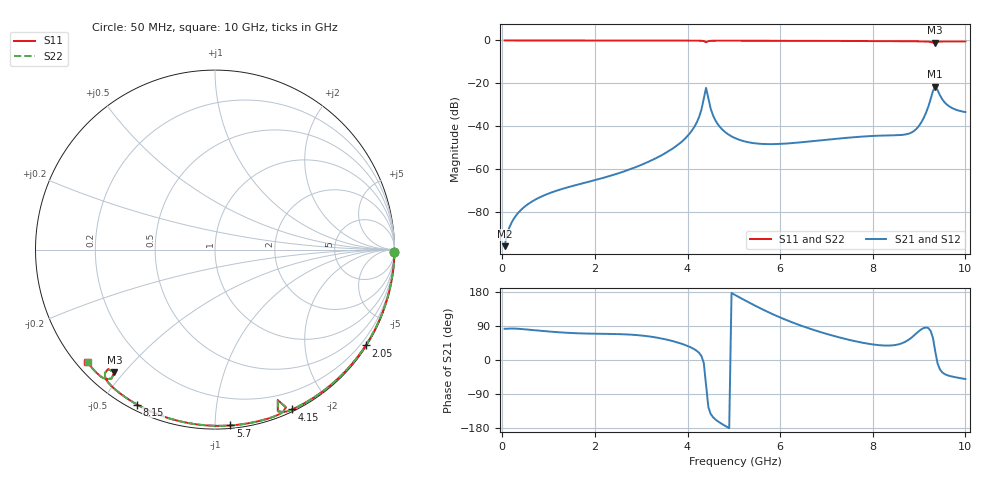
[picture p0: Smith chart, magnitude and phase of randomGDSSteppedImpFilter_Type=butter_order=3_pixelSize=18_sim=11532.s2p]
! freq	dB(S11)	phase(S11)	dB(S12)	phase(S12)
!  dB(S21)	phase(S21)	dB(S22)	phase(S22)
!S-par simulation data
#  GHz  S  DB  R 50
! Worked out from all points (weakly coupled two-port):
!   200 points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, 50 MHz to 10 GHz, reference 50 ohm
!   highest |S21| = -21.59 dB at 9.35 GHz (marker M1); lowest = -96.0 dB at 50 MHz (marker M2)
!   lowest |S11| = -1.1 dB at 9.35 GHz (marker M3), VSWR 16.16, Z = 3.78 - j23.5 ohm
!   |S11| at or under -10 dB: nowhere
!   |S22| runs from -1.1 to 0.0 dB; largest |S21 - S12| = 0
!   S11 on the Smith chart (normalised r, x): 50 MHz: open; 2.05 GHz: 0.03, -3.44; 4.15 GHz: 0.02, -1.59; 5.7 GHz: 0.02, -1.09; 8.15 GHz: 0.02, -0.62; 10 GHz: 0.03, -0.38
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0.05  -0.00 -0.8  -96.03 82.3  -96.03 82.3  -0.00 -0.8
0.35  -0.00 -5.6  -80.33 82.4  -80.33 82.4  -0.00 -5.6
0.85  -0.02 -13.6  -72.82 76.9  -72.82 76.9  -0.02 -13.6
1.75  -0.04 -27.8  -66.61 70.0  -66.61 70.0  -0.04 -27.8
2.05  -0.04 -32.4  -64.91 69.3  -64.91 69.3  -0.04 -32.4
3.4  -0.07 -52.9  -54.04 57.6  -54.04 57.6  -0.07 -52.9
3.85  -0.08 -59.6  -47.74 43.8  -47.74 43.8  -0.08 -59.6
4.15  -0.10 -64.3  -40.24 28.1  -40.24 28.1  -0.10 -64.2
4.3  -0.16 -67.2  -32.32 10.5  -32.32 10.5  -0.15 -67.2
4.4  -0.83 -67.4  -22.14 -65.9  -22.14 -65.9  -0.82 -67.4
4.5  -0.18 -67.2  -31.84 -142.3  -31.84 -142.3  -0.18 -67.2
4.6  -0.13 -69.3  -37.24 -156.7  -37.24 -156.7  -0.13 -69.3
5.05  -0.12 -76.0  -45.77 170.0  -45.77 170.0  -0.12 -76.0
5.7  -0.14 -85.0  -48.38 128.8  -48.38 128.8  -0.14 -85.0
6.7  -0.19 -98.2  -47.02 80.3  -47.02 80.3  -0.19 -98.2
8.15  -0.30 -116.7  -44.44 39.0  -44.44 39.0  -0.30 -116.6
8.35  -0.32 -119.2  -44.32 38.1  -44.32 38.1  -0.32 -119.1
8.95  -0.40 -127.0  -41.09 71.3  -41.09 71.3  -0.40 -126.9
9.15  -0.50 -130.0  -33.75 85.9  -33.75 85.9  -0.50 -130.0
9.35  -1.08 -129.4  -21.59 22.0  -21.59 22.0  -1.07 -129.4
9.6  -0.43 -132.9  -29.92 -39.7  -29.92 -39.7  -0.43 -132.9
10  -0.46 -138.5  -33.45 -50.2  -33.45 -50.2  -0.46 -138.5
